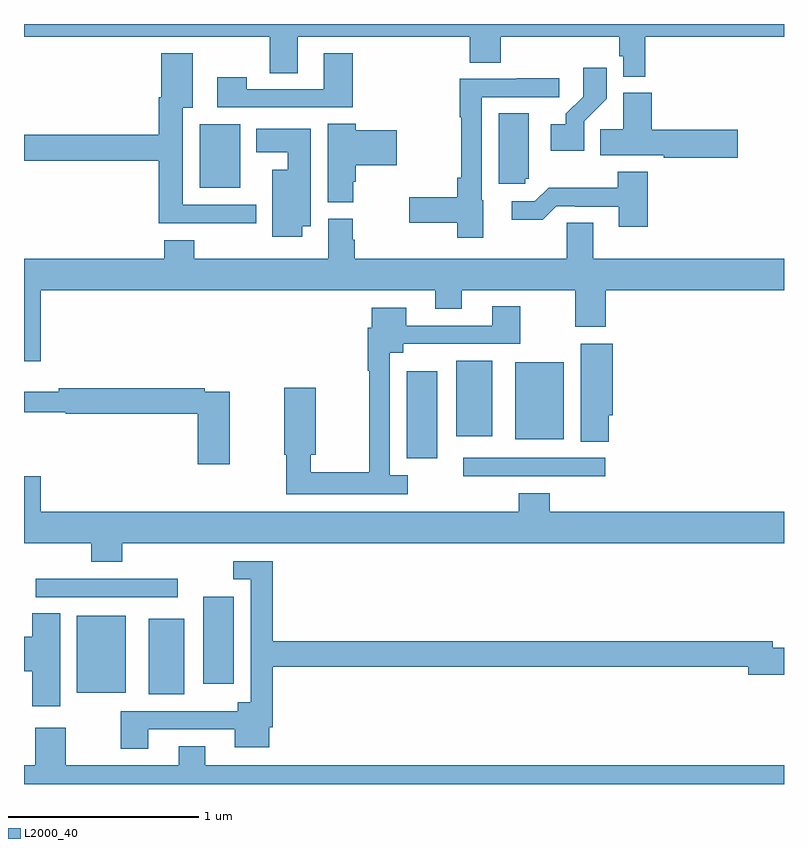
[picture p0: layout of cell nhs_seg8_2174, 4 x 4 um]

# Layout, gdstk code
import gdstk
lib = gdstk.Library(unit=1e-6, precision=1e-09)
def R(c, l, rs):  # rectangles x0, y0, x1, y1
    for r in rs: c.add(gdstk.rectangle(r[:2], r[2:], *l))
def P(c, l, *ps):  # polygons
    for p in ps: c.add(gdstk.Polygon(p, *l))
L2000_40 = (2000, 40)

nhs_seg8_2174 = lib.new_cell('nhs_seg8_2174')
R(nhs_seg8_2174, L2000_40, [(249.656,1114.373,249.844,1114.771), (249.278,1114.379,249.535,1114.786), (249.944,1114.428,250.105,1114.885), (249.063,1114.884,249.808,1114.98), (251.313,1115.52,252.058,1115.616), (251.015,1115.615,251.176,1116.073), (251.585,1115.714,251.842,1116.121), (251.276,1115.729,251.464,1116.127), (249.926,1117.037,250.138,1117.372)])
P(nhs_seg8_2174, L2000_40, [(252.269,1117.832),(253,1117.832),(253,1117.9),(249,1117.9),(249,1117.832),(250.294,1117.832),(250.294,1117.642),(250.441,1117.642),(250.441,1117.832),(251.345,1117.832),(251.345,1117.696),(251.51,1117.696),(251.51,1117.832),(252.133,1117.832),(252.133,1117.731),(252.153,1117.731),(252.153,1117.622),(252.269,1117.622)],
  [(250.73,1117.747),(250.577,1117.747),(250.577,1117.557),(250.173,1117.557),(250.173,1117.621),(250.017,1117.621),(250.017,1117.461),(250.73,1117.461)],
  [(250.222,1116.948),(249.835,1116.948),(249.835,1117.46),(249.889,1117.46),(249.889,1117.747),(249.722,1117.747),(249.722,1117.514),(249.71,1117.514),(249.71,1117.316),(249,1117.316),(249,1117.18),(249.71,1117.18),(249.71,1116.851),(250.222,1116.851)],
  [(251.949,1117.387),(252.068,1117.506),(252.068,1117.669),(251.943,1117.669),(251.943,1117.517),(251.852,1117.427),(251.852,1117.372),(251.772,1117.372),(251.772,1117.232),(251.949,1117.232)],
  [(251.416,1116.972),(251.409,1116.972),(251.409,1117.515),(251.818,1117.515),(251.818,1117.614),(251.593,1117.614),(251.593,1117.611),(251.293,1117.611),(251.293,1117.408),(251.301,1117.408),(251.301,1117.09),(251.28,1117.09),(251.28,1116.989),(251.028,1116.989),(251.028,1116.854),(251.28,1116.854),(251.28,1116.776),(251.416,1116.776)],
  [(252.757,1117.343),(252.305,1117.343),(252.305,1117.537),(252.155,1117.537),(252.155,1117.346),(252.034,1117.346),(252.034,1117.208),(252.367,1117.208),(252.367,1117.196),(252.757,1117.196)],
  [(251.637,1117.086),(251.656,1117.086),(251.656,1117.43),(251.498,1117.43),(251.498,1117.059),(251.637,1117.059)],
  [(250.732,1117.07),(250.745,1117.07),(250.745,1117.157),(250.963,1117.157),(250.963,1117.34),(250.745,1117.34),(250.745,1117.376),(250.598,1117.376),(250.598,1116.961),(250.732,1116.961)],
  [(250.465,1116.836),(250.51,1116.836),(250.51,1117.348),(250.223,1117.348),(250.223,1117.226),(250.388,1117.226),(250.388,1117.132),(250.307,1117.132),(250.307,1116.78),(250.465,1116.78)],
  [(252.284,1117.123),(252.124,1117.123),(252.124,1117.039),(251.761,1117.039),(251.688,1116.966),(251.568,1116.966),(251.568,1116.869),(251.729,1116.869),(251.802,1116.942),(251.902,1116.942),(251.902,1116.939),(252.131,1116.939),(252.131,1116.834),(252.284,1116.834)],
  [(249.088,1116.5),(251.165,1116.5),(251.165,1116.401),(251.305,1116.401),(251.305,1116.5),(251.902,1116.5),(251.902,1116.306),(252.062,1116.306),(252.062,1116.5),(253,1116.5),(253,1116.664),(251.995,1116.664),(251.995,1116.854),(251.856,1116.854),(251.856,1116.664),(250.742,1116.664),(250.742,1116.765),(250.729,1116.765),(250.729,1116.876),(250.601,1116.876),(250.601,1116.664),(249.897,1116.664),(249.897,1116.763),(249.737,1116.763),(249.737,1116.664),(249,1116.664),(249,1116.126),(249.088,1116.126)],
  [(251.02,1115.524),(250.926,1115.524),(250.926,1116.17),(250.996,1116.17),(250.996,1116.216),(251.613,1116.216),(251.613,1116.415),(251.465,1116.415),(251.465,1116.312),(251.011,1116.312),(251.011,1116.406),(250.829,1116.406),(250.829,1116.302),(250.81,1116.302),(250.81,1116.074),(250.818,1116.074),(250.818,1115.54),(250.51,1115.54),(250.51,1115.633),(250.536,1115.633),(250.536,1115.986),(250.37,1115.986),(250.37,1115.633),(250.381,1115.633),(250.381,1115.424),(251.02,1115.424)],
  [(252.077,1115.841),(252.098,1115.841),(252.098,1116.217),(251.93,1116.217),(251.93,1115.701),(252.077,1115.701)],
  [(250.084,1115.964),(249.95,1115.964),(249.95,1115.984),(249.184,1115.984),(249.184,1115.965),(249,1115.965),(249,1115.856),(249.219,1115.856),(249.219,1115.848),(249.914,1115.848),(249.914,1115.583),(250.084,1115.583)],
  [(249.518,1115.168),(253,1115.168),(253,1115.332),(251.768,1115.332),(251.768,1115.431),(251.603,1115.431),(251.603,1115.332),(249.088,1115.332),(249.088,1115.521),(249,1115.521),(249,1115.168),(249.353,1115.168),(249.353,1115.069),(249.518,1115.069)],
  [(249.655,1114.188),(250.109,1114.188),(250.109,1114.094),(250.291,1114.094),(250.291,1114.198),(250.31,1114.198),(250.31,1114.516),(252.812,1114.516),(252.812,1114.474),(253,1114.474),(253,1114.616),(252.94,1114.616),(252.94,1114.652),(250.31,1114.652),(250.31,1115.073),(250.101,1115.073),(250.101,1114.977),(250.194,1114.977),(250.194,1114.33),(250.124,1114.33),(250.124,1114.284),(249.508,1114.284),(249.508,1114.086),(249.655,1114.086)],
  [(249.19,1114.799),(249.044,1114.799),(249.044,1114.676),(249,1114.676),(249,1114.493),(249.044,1114.493),(249.044,1114.308),(249.19,1114.308)],
  [(253,1114),(249.955,1114),(249.955,1114.099),(249.815,1114.099),(249.815,1114),(249.219,1114),(249.219,1114.195),(249.059,1114.195),(249.059,1114),(249,1114),(249,1113.9),(253,1113.9)])

lib.write_gds('nhs_seg8_2174.gds')
